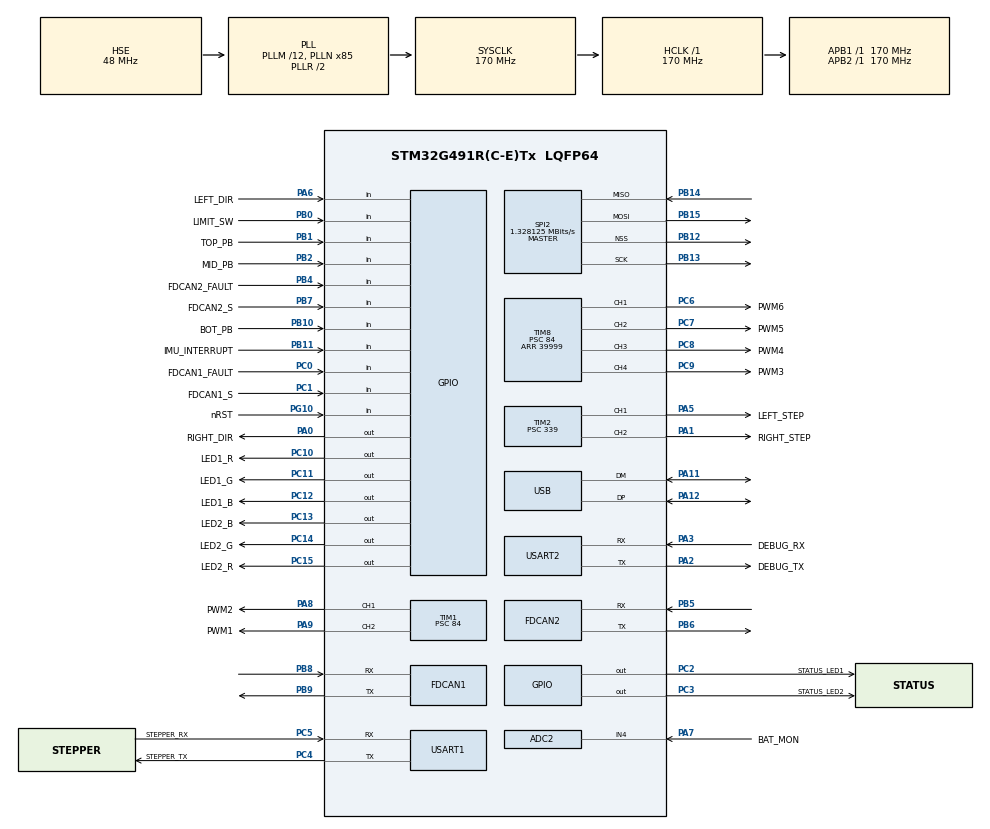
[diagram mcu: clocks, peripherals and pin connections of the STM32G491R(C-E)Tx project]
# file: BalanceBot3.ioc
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ADC2.Channel-1\#ChannelRegularConversion=ADC_CHANNEL_4
ADC2.NbrOfConversionFlag=1
ADC2.OffsetNumber-1\#ChannelRegularConversion=ADC_OFFSET_NONE
ADC2.Rank-1\#ChannelRegularConversion=1
ADC2.SamplingTime-1\#ChannelRegularConversion=ADC_SAMPLETIME_2CYCLES_5
FDCAN1.CalculateBaudRateNominal=3541666
FDCAN1.CalculateTimeBitNominal=282
FDCAN1.CalculateTimeQuantumNominal=94.11764705882354
FDCAN2.CalculateBaudRateNominal=3541666
FDCAN2.CalculateTimeBitNominal=282
FDCAN2.CalculateTimeQuantumNominal=94.11764705882354
Mcu.Family=STM32G4
Mcu.Name=STM32G491R(C-E)Tx
Mcu.Package=LQFP64
NVIC.PriorityGroup=NVIC_PRIORITYGROUP_4
NVIC.USB_HP_IRQn=true\:0\:0\:false\:false\:true\:true\:true\:true
NVIC.USB_LP_IRQn=true\:0\:0\:false\:false\:true\:false\:true\:true
PA0.GPIO_Label=RIGHT_DIR
PA0.Signal=GPIO_Output
PA1.GPIO_Label=RIGHT_STEP
PA1.Signal=S_TIM2_CH2
PA11.Mode=Device
PA11.Signal=USB_DM
PA12.Mode=Device
PA12.Signal=USB_DP
PA13.Mode=Serial_Wire
PA13.Signal=SYS_JTMS-SWDIO
PA14.Mode=Serial_Wire
PA14.Signal=SYS_JTCK-SWCLK
PA2.GPIO_Label=DEBUG_TX
PA2.Mode=Asynchronous
PA2.Signal=USART2_TX
PA3.GPIO_Label=DEBUG_RX
PA3.Mode=Asynchronous
PA3.Signal=USART2_RX
PA5.GPIO_Label=LEFT_STEP
PA5.Signal=S_TIM2_CH1
PA6.GPIO_Label=LEFT_DIR
PA6.Signal=GPIO_Input
PA7.GPIO_Label=BAT_MON
PA7.Mode=IN4-Single-Ended
PA7.Signal=ADC2_IN4
PA8.GPIO_Label=PWM2
PA8.Signal=S_TIM1_CH1
PA9.GPIO_Label=PWM1
PA9.Signal=S_TIM1_CH2
PB0.GPIO_Label=LIMIT_SW
PB0.Signal=GPIO_Input
PB1.GPIO_Label=TOP_PB
PB1.Signal=GPIO_Input
PB10.GPIO_Label=BOT_PB
PB10.Signal=GPIO_Input
PB11.GPIO_Label=IMU_INTERRUPT
PB11.Signal=GPIO_Input
PB12.Mode=NSS_Signal_Hard_Output
PB12.Signal=SPI2_NSS
PB13.Mode=Full_Duplex_Master
PB13.Signal=SPI2_SCK
PB14.Mode=Full_Duplex_Master
PB14.Signal=SPI2_MISO
PB15.Mode=Full_Duplex_Master
PB15.Signal=SPI2_MOSI
PB2.GPIO_Label=MID_PB
PB2.Signal=GPIO_Input
PB4.GPIO_Label=FDCAN2_FAULT
PB4.Signal=GPIO_Input
PB5.Mode=FDCAN_Activate
PB5.Signal=FDCAN2_RX
PB6.Mode=FDCAN_Activate
PB6.Signal=FDCAN2_TX
PB7.GPIO_Label=FDCAN2_S
PB7.Signal=GPIO_Input
PB8-BOOT0.Mode=FDCAN_Activate
PB8-BOOT0.Signal=FDCAN1_RX
PB9.Mode=FDCAN_Activate
PB9.Signal=FDCAN1_TX
PC0.GPIO_Label=FDCAN1_FAULT
PC0.Signal=GPIO_Input
PC1.GPIO_Label=FDCAN1_S
PC1.Signal=GPIO_Input
PC10.GPIO_Label=LED1_R
PC10.Signal=GPIO_Output
PC11.GPIO_Label=LED1_G
PC11.Signal=GPIO_Output
PC12.GPIO_Label=LED1_B
PC12.Signal=GPIO_Output
PC13.GPIO_Label=LED2_B
PC13.Signal=GPIO_Output
PC14-OSC32_IN.GPIO_Label=LED2_G
PC14-OSC32_IN.Signal=GPIO_Output
PC15-OSC32_OUT.GPIO_Label=LED2_R
PC15-OSC32_OUT.Signal=GPIO_Output
PC2.GPIO_Label=STATUS_LED1
PC2.Signal=GPIO_Output
PC3.GPIO_Label=STATUS_LED2
PC3.Signal=GPIO_Output
PC4.GPIO_Label=STEPPER_TX
PC4.Mode=Asynchronous
PC4.Signal=USART1_TX
PC5.GPIO_Label=STEPPER_RX
PC5.Mode=Asynchronous
PC5.Signal=USART1_RX
PC6.GPIO_Label=PWM6
PC6.Signal=S_TIM8_CH1
PC7.GPIO_Label=PWM5
PC7.Signal=S_TIM8_CH2
PC8.GPIO_Label=PWM4
PC8.Signal=S_TIM8_CH3
PC9.GPIO_Label=PWM3
PC9.Signal=S_TIM8_CH4
PF0-OSC_IN.Mode=HSE-External-Oscillator
PF0-OSC_IN.Signal=RCC_OSC_IN
PF1-OSC_OUT.Mode=HSE-External-Oscillator
PF1-OSC_OUT.Signal=RCC_OSC_OUT
PG10-NRST.GPIO_Label=nRST
PG10-NRST.Signal=GPIO_Input
ProjectManager.HeapSize=0x600
ProjectManager.StackSize=0x400
ProjectManager.TargetToolchain=STM32CubeIDE
RCC.ADC12Freq_Value=170000000
RCC.ADC345Freq_Value=170000000
RCC.AHBFreq_Value=170000000
RCC.APB1Freq_Value=170000000
RCC.APB1TimFreq_Value=170000000
RCC.APB2Freq_Value=170000000
RCC.APB2TimFreq_Value=170000000
RCC.CortexFreq_Value=170000000
RCC.EXTERNAL_CLOCK_VALUE=12288000
RCC.HCLKFreq_Value=170000000
RCC.HSE_VALUE=48000000
RCC.HSI48_VALUE=48000000
RCC.HSI_VALUE=16000000
RCC.LSE_VALUE=32768
RCC.PLLM=RCC_PLLM_DIV12
RCC.PLLN=85
RCC.PLLSourceVirtual=RCC_PLLSOURCE_HSE
RCC.SYSCLKFreq_VALUE=170000000
RCC.SYSCLKSource=RCC_SYSCLKSOURCE_PLLCLK
RCC.USBFreq_Value=48000000
RCC.VCOOutputFreq_Value=340000000
SH.S_TIM1_CH1.0=TIM1_CH1,PWM Generation1 CH1
SH.S_TIM1_CH2.0=TIM1_CH2,PWM Generation2 CH2
SH.S_TIM2_CH1.0=TIM2_CH1,PWM Generation1 CH1
SH.S_TIM2_CH2.0=TIM2_CH2,PWM Generation2 CH2
SH.S_TIM8_CH1.0=TIM8_CH1,PWM Generation1 CH1
SH.S_TIM8_CH2.0=TIM8_CH2,PWM Generation2 CH2
SH.S_TIM8_CH3.0=TIM8_CH3,PWM Generation3 CH3
SH.S_TIM8_CH4.0=TIM8_CH4,PWM Generation4 CH4
SPI2.BaudRatePrescaler=SPI_BAUDRATEPRESCALER_128
SPI2.CalculateBaudRate=1.328125 MBits/s
SPI2.DataSize=SPI_DATASIZE_8BIT
SPI2.Direction=SPI_DIRECTION_2LINES
SPI2.Mode=SPI_MODE_MASTER
SPI2.TIMode=SPI_TIMODE_DISABLE
SPI2.VirtualNSS=VM_NSSHARD
SPI2.VirtualType=VM_MASTER
TIM1.Channel-PWM\ Generation1\ CH1=TIM_CHANNEL_1
TIM1.Channel-PWM\ Generation2\ CH2=TIM_CHANNEL_2
TIM1.PeriodNoDither=39999
TIM1.Prescaler=84
TIM1.PulseNoDither_1=200
TIM1.PulseNoDither_2=150
TIM2.Channel-PWM\ Generation1\ CH1=TIM_CHANNEL_1
TIM2.Channel-PWM\ Generation2\ CH2=TIM_CHANNEL_2
TIM2.PeriodNoDither=9999
TIM2.Prescaler=339
TIM2.PulseNoDither_1=4999
TIM2.PulseNoDither_2=4999
TIM8.Channel-PWM\ Generation1\ CH1=TIM_CHANNEL_1
TIM8.Channel-PWM\ Generation2\ CH2=TIM_CHANNEL_2
TIM8.Channel-PWM\ Generation3\ CH3=TIM_CHANNEL_3
TIM8.Channel-PWM\ Generation4\ CH4=TIM_CHANNEL_4
TIM8.PeriodNoDither=39999
TIM8.Prescaler=84
TIM8.PulseNoDither_1=150
TIM8.PulseNoDither_2=150
TIM8.PulseNoDither_3=150
TIM8.PulseNoDither_4=150
USART1.VirtualMode-Asynchronous=VM_ASYNC
USART1.VirtualMode-Half_duplex(single_wire_mode)=VM_ASYNC
USART2.FIFOMode=FIFOMODE_DISABLE
USART2.MSBFirstParam=ADVFEATURE_MSBFIRST_DISABLE
USART2.VirtualMode-Asynchronous=VM_ASYNC
USB_DEVICE.CLASS_NAME_FS=CDC
USB_DEVICE.PRODUCT_STRING_CDC_FS=BB3-STM32
USB_DEVICE.USBD_MAX_NUM_CONFIGURATION=1
USB_DEVICE.USBD_MAX_NUM_INTERFACES=1
USB_DEVICE.VirtualMode=Cdc
USB_DEVICE.VirtualModeFS=Cdc_FS
VP_USB_DEVICE_VS_USB_DEVICE_CDC_FS.Mode=CDC_FS
board=custom

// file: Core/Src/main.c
/* USER CODE BEGIN Header */
/**
  ******************************************************************************
  * @file           : main.c
  * @brief          : Main program body
  ******************************************************************************
  * @attention
  *
  * Copyright (c) 2022 STMicroelectronics.
  * All rights reserved.
  *
  * This software is licensed under terms that can be found in the LICENSE file
  * in the root directory of this software component.
  * If no LICENSE file comes with this software, it is provided AS-IS.
  *
  ******************************************************************************
  */
/* USER CODE END Header */
#include "main.h"
#include "adc.h"
#include "fdcan.h"
#include "spi.h"
#include "tim.h"
#include "usart.h"
#include "usb_device.h"
#include "gpio.h"

/* USER CODE BEGIN Includes */

#include "usbd_cdc_if.h"
#include "string.h"
#include "stdint.h"

#include "led.h"
#include "rgb.h"
#include "button.h"
#include "servo.h"
#include "eezybotarm.h"
#include "tmc2209.h"
#include "icm20608.h"
#include "bb3.h"
#include "circularBuffer.h"
#include "controller.h"
#include "pid.h"

//#include "math.h"

/* USER CODE END Includes */

/* USER CODE BEGIN PD */

//#define USB_BUFLEN	128

/* USER CODE END PD */

/* USER CODE BEGIN PV */

//uint8_t usbTxBuf[USB_BUFLEN];
//uint16_t usbTxBufLen;
//
//uint8_t usbRxBuf[USB_BUFLEN];
//uint16_t usbRxBufLen;
//uint8_t	usbRxFlag = 0;

//void USB_RXCallback(uint8_t* Buf, uint32_t* Len) {
//	memcpy(usbRxBuf, Buf, *Len);
//	usbRxBufLen = *Len;
//	usbRxFlag = 1;
//}

/* Buffer sizes */
/* Must be a power of 2 */
#define USB_BUFFER_SIZE 64
#define UART_BUFFER_SIZE 64

/* Actual memory arrays */
static uint8_t usbRxMemory[USB_BUFFER_SIZE];
static uint8_t usbTxMemory[USB_BUFFER_SIZE];
static uint8_t uartRxMemory[UART_BUFFER_SIZE];
static uint8_t uartTxMemory[UART_BUFFER_SIZE];

/* CircularBuffer_t instances */
CircularBuffer_t usbRxBuffer;//  = circularBuffer_new(usbRxMemory, USB_BUFFER_SIZE);
CircularBuffer_t usbTxBuffer;//  = circularBuffer_new(usbTxMemory, USB_BUFFER_SIZE);
CircularBuffer_t uartRxBuffer;// = circularBuffer_new(uartRxMemory, UART_BUFFER_SIZE);
CircularBuffer_t uartTxBuffer;// = circularBuffer_new(uartTxMemory, UART_BUFFER_SIZE);

typedef struct
{
    CircularBuffer_t *rxBuffer;
    CircularBuffer_t *txBuffer;

    void (*startTx)(void);

} CommInterface_t;

CommInterface_t usbInterface;
CommInterface_t uartInterface;

/* Comms interfaces */

//typedef struct
//{
//    CircularBuffer_t *rxBuffer;
//    CircularBuffer_t *txBuffer;
//
//    void (*startTx)(void);
//
//} CommInterface_t;
//
//
//CommInterface_t usbInterface =
//{
//    .rxBuffer = &usbRxBuffer,
//    .txBuffer = &usbTxBuffer,
//    .startTx = usb_startTx // maybe a flag, maybe a function?
//
//};
//
//
//CommInterface_t uartInterface =
//{
//    .rxBuffer = &usbRxBuffer,
//    .txBuffer = &usbTxBuffer,
//    .startTx = uart_startTx
//};
//
//
//

/* USER CODE END PV */

void SystemClock_Config(void);
/* USER CODE BEGIN PFP */

/*
 *
 * 	Events and loops
 * 		- Events run once a loop
 * 		- Loops are blocking and run forever
 *
 */

// Intro tasks
//void rgb_green_blink(rgb_t *rgb1, rgb_t *rgb2, uint16_t dwellTime, uint8_t numberOfFlashes);
//void rgb_white_blink(rgb_t *rgb1, rgb_t *rgb2, uint16_t dwellTime, uint8_t numberOfFlashes);
//void rgb_intro_task(rgb_t *rgb1, rgb_t *rgb2, uint16_t dwellTime, uint8_t numberOfSteps);
//
//// Button tasks
//void tmc2209_3_button_task(
//		uint32_t period,
//		rgb_t *rgb1, rgb_t *rgb2,
//		button_t *topPB, button_t *midPB, button_t *botPB,
//		tmc2209_t *tmc1, tmc2209_t *tmc2);
//void tmc2209_icm20608_3_button_task(
//		uint32_t period,
//		rgb_t *rgb1, rgb_t *rgb2,
//		button_t *topPB, button_t *midPB, button_t *botPB,
//		icm20608_t *icm,
//		tmc2209_t *tmc1, tmc2209_t *tmc2);
//
//// Logging tasks
//void tmc2209_log_task(uint32_t period, tmc2209_t *tmc);
//void icm20608_log_task(uint32_t period, icm20608_t *icm);
//
//// Program task(s)
//
//void bb3_loop(
//		uint32_t period,
//		rgb_t *rgb1, rgb_t *rgb2,
//		button_t *topPB, button_t *midPB, button_t *botPB,
//		icm20608_t *imu,
//		tmc2209_t *rightWheel, tmc2209_t *leftWheel
// 	 );
//
// // Heartbeat(s)
//void heartbeat_task(
//		led_t *led1,
//		uint32_t led1Period,
//		led_t *led2,
//		uint32_t led2Period);

/* USER CODE END PFP */

bb3_t bb3; // Make BB3 a global variable for use with STM32CubeMonitor
int main(void)
{

  /* MCU Configuration--------------------------------------------------------*/

  /* Reset of all peripherals, Initializes the Flash interface and the Systick. */
  HAL_Init();

  /* Configure the system clock */
  SystemClock_Config();

  /* Initialize all configured peripherals */
  MX_GPIO_Init();
  MX_TIM2_Init();
  MX_USART1_UART_Init();
  MX_USART2_UART_Init();
  MX_SPI2_Init();
  MX_TIM1_Init();
  MX_TIM8_Init();
  MX_FDCAN1_Init();
  MX_FDCAN2_Init();
  MX_ADC2_Init();
  MX_USB_Device_Init();
  /* USER CODE BEGIN 2 */

  usbRxBuffer  = circularBuffer_new(usbRxMemory, USB_BUFFER_SIZE);
  usbTxBuffer  = circularBuffer_new(usbTxMemory, USB_BUFFER_SIZE);
  uartRxBuffer = circularBuffer_new(uartRxMemory, UART_BUFFER_SIZE);
  uartTxBuffer = circularBuffer_new(uartTxMemory, UART_BUFFER_SIZE);

  /* Comms interfaces */

//  usbInterface =
//  {
//      .rxBuffer = &usbRxBuffer,
//      .txBuffer = &usbTxBuffer,
//      .startTx = usb_startTx // maybe a flag, maybe a function?
//
//  };
//
//
//  uartInterface =
//  {
//      .rxBuffer = &usbRxBuffer,
//      .txBuffer = &usbTxBuffer,
//      .startTx = uart_startTx
//  };

  /*
   *  Servo motors
   */
  servo_t servo1 = Servo_newMG90S(&htim1, TIM_CHANNEL_2);
  servo_t servo2 = Servo_newMG90S(&htim1, TIM_CHANNEL_1);
  servo_t servo3 = Servo_newMG90S(&htim8, TIM_CHANNEL_4);
  servo_t servo4 = Servo_newMG90S(&htim8, TIM_CHANNEL_3);
  servo_t servo5 = Servo_newMG90S(&htim8, TIM_CHANNEL_2);
  servo_t servo6 = Servo_newMG90S(&htim8, TIM_CHANNEL_1);

  /*
   * Status LEDs
   */
  led_t topStatusLed = led_new(
      STATUS_LED1_Pin,
      STATUS_LED1_GPIO_Port,
      1);
  led_t botStatusLed = led_new(
      STATUS_LED2_Pin,
      STATUS_LED2_GPIO_Port,
      1);

  /**
   *  RGB LEDs
   */
  rgb_t rgb1 = rgb_new(
      LED1_R_Pin,
      LED1_R_GPIO_Port,
      LED1_G_Pin,
      LED1_G_GPIO_Port,
      LED1_B_Pin,
      LED1_B_GPIO_Port,
      RGB_OFF,
      1);
  rgb_t rgb2 = rgb_new(
      LED2_R_Pin,
      LED2_R_GPIO_Port,
      LED2_G_Pin,
      LED2_G_GPIO_Port,
      LED2_B_Pin,
      LED2_B_GPIO_Port,
      RGB_OFF,
      1);

  /**
   *  Buttons
   */
  button_t pbTop = button_new(
      TOP_PB_Pin,
      TOP_PB_GPIO_Port,
      0);
  button_t pbMid = button_new(
	MID_PB_Pin,
	MID_PB_GPIO_Port,
	0);
  button_t pbBot = button_new(
    BOT_PB_Pin,
    BOT_PB_GPIO_Port,
    0);
  button_t pbLimit = button_new(
    LIMIT_SW_Pin,
	LIMIT_SW_GPIO_Port,
	0);

  /**
   * Stepper motor drivers
   */
  icm20608_t icm = icm20608_new(
    IMU_INTERRUPT_Pin,
    IMU_INTERRUPT_GPIO_Port);

  /**
   * Stepper motor drivers
   */
  tmc2209_t motorRight = tmc2209_new(
    TMC2209_VELOCITY_CONTROL,
	TMC2209_INVERSE_MOTOR_DIR,
    &htim2,
	TIM_CHANNEL_2,
	RIGHT_DIR_Pin,
	RIGHT_DIR_GPIO_Port,
	&huart1,
	TMC2209_ADDR_1);

  tmc2209_t motorLeft = tmc2209_new(
	TMC2209_VELOCITY_CONTROL,
	TMC2209_STANDARD_MOTOR_DIR,
    &htim2,
    TIM_CHANNEL_1,
    LEFT_DIR_Pin,
    LEFT_DIR_GPIO_Port,
    &huart1,
    TMC2209_ADDR_2);

  controller_t linear_controller = controller_new(0, 5);
  pid_t pid = pid_new(1, 0, 0);

  bb3 = bb3_new(
	  &rgb1, &rgb2,
	  &rgb1, &rgb2, // event LED: button, process
	  &pbTop, &pbMid, &pbBot, &pbLimit,
	  &motorLeft, &motorRight,
	  true,
	  BB3_DIRECTION_FORWARD,
	  BB3_SPEED_MODE_RPM,
	  0,
	  0,
	  &linear_controller.base // Can be any controller_base_t
	  );

 //  eezybotarm_t robotArm = eezybotarm_new(&servo6, &servo3, &servo4, &servo5, &rgb1, &rgb2);

  /* USER CODE END 2 */

  /* Infinite loop */
  /* USER CODE BEGIN WHILE */

  // Delay to wait for USB to be ready
  // TODO wait until USB is ready for transmission, Note: CDC_Transit_FS returns success or failure
  //  HAL_Delay(250);

  /*
   * Start of infinite loop!
   */

  // Intro tasks
  rgb_intro_task(&rgb1, &rgb2, 20, 40);
//  HAL_Delay(100);
// rgb_green_blink(&rgb1, &rgb2, 100, 5);
   rgb_white_blink(&rgb1, &rgb2, 100, 3);

  while (1)
  {

	  /*
	   *  System tasks
	   */

//	  if(usbRxFlag) {
//		  char initializingMessage[50];
//		  usbRxBuf[usbRxBufLen] = '\0';
//		  snprintf(initializingMessage, 50, "Received: %d bytes containing %s\n\r", usbRxBufLen, usbRxBuf);
//		  CDC_Transmit_FS((uint8_t*)initializingMessage, strlen(initializingMessage));
//		  usbRxFlag = 0;
//		  usbRxBufLen = 0;
//	  }
//		char initializingMessage[50];
//		uint32_t i = HAL_GetTick();
//		sprintf(initializingMessage, "Tick: %lu\n\r", i);
//		CDC_Transmit_FS((uint8_t*)initializingMessage, strlen(initializingMessage));
//		char command = (char) CDC_Get_Buffer()[0];
//		buffer = (char)CDC_Get_Buffer();
//		while (buffer[i] != 0) {
//			if ( buffer[i] == 0) {
//				i = 0;
//			}
//			// Print out contents and reset register to 0
//			CDC_Transmit_FS((uint8_t*)buffer, 1);
//			buffer[i] = 0;
//			i ++;
//		}
//		CDC_Transmit_FS((uint8_t*)msg, strlen(msg));
//		HAL_Delay(100);
//		command = tolower(command);
//		switch(command){
//			// Moving base
//			case 'q':

//		  uint8_t Test[] = "Hello World !!!\r\n"; //Data to send
//		  HAL_UART_Transmit(&huart2,Test,sizeof(Test),10);// Sending in normal mode
//
//		  char msg[] = {0x55, 0x55, 0x55, 0x55, 0x55, 0x55};
//		  uint8_t status;
////		  status = HAL_UART_Transmit(&huart2, msg, 6, 10);
//		  HAL_UART_Transmit(&huart1, msg, 6, 10);

//		  tmc2209_read_request_t readDatagram = {
//		  			.slaveAddress = TMC2209_ADDR_1,
//		  			.registerAddress = TMC2209_GCONF
//		  	};
//		  uint32_t data = tmc2209_read(&rightMotor, readDatagram);
//		  char msg[] = {0xAA, 0xAA, 0xAA, 0xAA, 0xAA, 0xAA};
//
//		  uint8_t status;
//		  status = HAL_UART_Transmit(&huart2, &data, 4, 10);
//		  HAL_UART_Transmit(&huart1, msg, 6, 10);

//		  char msg[] = {0x00, 0x00, 0x01, 0x02, 0x03, 0x04, 0x05, 0x06, 0x07, 0x08, 0x09, 0x0a, 0x0b, 0x0c, 0x0d, 0x0e, 0x0f, 0x00};
//		  uint8_t status;
//		  status = HAL_UART_Transmit(&huart2, msg, 18, 10);
//		  HAL_UART_Transmit(&huart1, msg, 18, 10);

	  /*
	   *  Button tasks
	   */

	   bb3_task_button(100, &bb3);

	   bb3_task_control_loop(10, &bb3);

//	  tmc2209_task_3_button(
//			  100,
//			  &rgb1, &rgb2,
//			  &topPb, &midPb, &botPb,
//			  &rightMotor, &leftMotor);

//	  tmc2209_task_icm20608_3_button(
//			  &rightMotor, &leftMotor,
//			  &icm,
//			  &topPB, &midPB, &botPB);

	  /*
	   *  Logging tasks
	   */
//	  tmc2209_log_task(&rightMotor);
//	  tmc2209_log_task(&leftMotor);
//	  icm20608_log_task(&icm);

	   /*
	    *  Heartbeat(s)
	    */
	  bb3_task_heartbeat(
			  &topStatusLed,
			  HEARTBEAT_TOP_LED_INTERVAL,
			  &botStatusLed,
			  HEARTBEAT_BOT_LED_INTERVAL);

	  /*
	   * EEZYBOTARM MK2
	   * - Un-comment the start and end comment blocks to enable/disable
	   */
	  /* Enable/Disable
	  eezybotarm_update_qawsedrf(&robotArm);

	  // Check buttons
	  uint8_t topPB, botPB, midPB;
	  topPB = HAL_GPIO_ReadPin(TOP_PB_GPIO_Port, TOP_PB_Pin);
	  midPB = HAL_GPIO_ReadPin(MID_PB_GPIO_Port, MID_PB_Pin);
	  botPB = HAL_GPIO_ReadPin(BOT_PB_GPIO_Port, BOT_PB_Pin);
	  // Set top to max, mid to mid, and bot to min servo values
	  if (topPB == PB_PRESSED) {
		  eezybotarm_setMode(&robotArm, eezybotarm_MODE_INCREMENT);
		  while(HAL_GPIO_ReadPin(TOP_PB_GPIO_Port, TOP_PB_Pin) == PB_PRESSED);
	  }
	  if (midPB == PB_PRESSED) {
		  if(robotArm.mode != eezybotarm_OFF) {
			  eezybotarm_setMode(&robotArm, eezybotarm_OFF);
		  } else {
			  eezybotarm_setMode(&robotArm, eezybotarm_NORMAL);
		  }
		  while(HAL_GPIO_ReadPin(MID_PB_GPIO_Port, MID_PB_Pin) == PB_PRESSED);
	  }
	  if (botPB == PB_PRESSED ) {
		  eezybotarm_setMode(&robotArm, eezybotarm_MODE_DECREMENT);
		  while(HAL_GPIO_ReadPin(BOT_PB_GPIO_Port, BOT_PB_Pin) == PB_PRESSED);
	  }

	  */ // EO EEZYBOTARM MK2

//	  HAL_Delay(WAIT_ms); // Delay if needed

    /* USER CODE END WHILE */

    /* USER CODE BEGIN 3 */
  }
  return EXIT_SUCCESS;
  /* USER CODE END 3 */
}

void SystemClock_Config(void)
{
  RCC_OscInitTypeDef RCC_OscInitStruct = {0};
  RCC_ClkInitTypeDef RCC_ClkInitStruct = {0};

  /** Configure the main internal regulator output voltage
  */
  HAL_PWREx_ControlVoltageScaling(PWR_REGULATOR_VOLTAGE_SCALE1_BOOST);

  /** Initializes the RCC Oscillators according to the specified parameters
  * in the RCC_OscInitTypeDef structure.
  */
  RCC_OscInitStruct.OscillatorType = RCC_OSCILLATORTYPE_HSI48|RCC_OSCILLATORTYPE_HSE;
  RCC_OscInitStruct.HSEState = RCC_HSE_ON;
  RCC_OscInitStruct.HSI48State = RCC_HSI48_ON;
  RCC_OscInitStruct.PLL.PLLState = RCC_PLL_ON;
  RCC_OscInitStruct.PLL.PLLSource = RCC_PLLSOURCE_HSE;
  RCC_OscInitStruct.PLL.PLLM = RCC_PLLM_DIV12;
  RCC_OscInitStruct.PLL.PLLN = 85;
  RCC_OscInitStruct.PLL.PLLP = RCC_PLLP_DIV2;
  RCC_OscInitStruct.PLL.PLLQ = RCC_PLLQ_DIV2;
  RCC_OscInitStruct.PLL.PLLR = RCC_PLLR_DIV2;
  if (HAL_RCC_OscConfig(&RCC_OscInitStruct) != HAL_OK)
  {
    Error_Handler();
  }

  /** Initializes the CPU, AHB and APB buses clocks
  */
  RCC_ClkInitStruct.ClockType = RCC_CLOCKTYPE_HCLK|RCC_CLOCKTYPE_SYSCLK
                              |RCC_CLOCKTYPE_PCLK1|RCC_CLOCKTYPE_PCLK2;
  RCC_ClkInitStruct.SYSCLKSource = RCC_SYSCLKSOURCE_PLLCLK;
  RCC_ClkInitStruct.AHBCLKDivider = RCC_SYSCLK_DIV1;
  RCC_ClkInitStruct.APB1CLKDivider = RCC_HCLK_DIV1;
  RCC_ClkInitStruct.APB2CLKDivider = RCC_HCLK_DIV1;

  if (HAL_RCC_ClockConfig(&RCC_ClkInitStruct, FLASH_LATENCY_4) != HAL_OK)
  {
    Error_Handler();
  }
}

void Error_Handler(void)
{
  __disable_irq();
  while (1)
  {
  }
}
